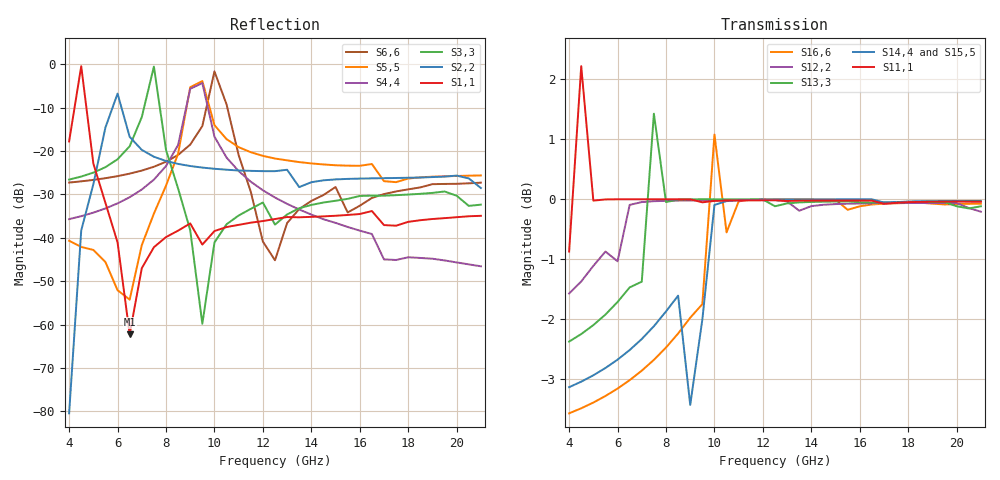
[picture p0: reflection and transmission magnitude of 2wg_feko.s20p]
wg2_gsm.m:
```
F = 4e9:0.5e9:21e9;

rp = 0.0405319403216/2; % radius of the waveguide
rr = 0.0405319403216/2.1;

c0 = 3e8;

err = 1;
murr = 1;
erp = 1;
murp = 1;


er0 = 8.85418782e-12; % Free space permittivity
mu0 = 1.25663706e-6;  % Free Space Permeability
epsilonr = err * er0;   % Permittivity in the medium
mur = mu0 * murr;
epsilonp = erp * er0;   % Permittivity in the medium
mup = mu0 * murp;


Nr = 1:1:15;
Np = 1:1:15;

X_til = Inner_p(Nr, Np, rp, rr, erp, murp, err, murr);


parfor k = 1:length(F)


[Spp_, Spr_, Srp_, Srr_] = GSM(Nr, Np, F(k), rp, rr, erp, murp, err, murr, X_til);

Spp(k, :, :) = Spp_;
Spr(k, :, :) = Spr_;
Srp(k, :, :) = Srp_;
Srr(k, :, :) = Srr_;


end


F_cst = linspace(4e9, 21e9, 1001);
data5_cst = read(rfdata.data,'2wg_cst.s38p');
s_params_5_cst = extract(data5_cst,'S_PARAMETERS');


data5_feko = read(rfdata.data,'2wg_feko.s20p');
s_params_5_feko = extract(data5_feko,'S_PARAMETERS');

figure;

plot(F * 1e-9, db(abs(squeeze(Spp(:, 4, 4))))/2, 'LineWidth', 2); grid on;
hold on;
plot(F_cst * 1e-9, db(abs(squeeze(s_params_5_cst(25,25, :))))/2, 'LineWidth', 2); grid on;
hold on;
plot(F * 1e-9, db(abs(squeeze(s_params_5_feko(4, 4, :))))/2, 'LineWidth', 2); grid on;


xlim([5 21])
```
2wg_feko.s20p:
! S-parameter export from POSTFEKO
! Filename: circular_2wg_10modes
! Creation date: 2020-02-24 14:28:58
# Hz S MA R  5.0000000E+01
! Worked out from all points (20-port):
!   35 points, 4 GHz to 21 GHz, reference 50 ohm
!   strongest paths, dB at 4 GHz, 8 GHz, 12.5 GHz, 17 GHz, 21 GHz:
!     S11,1: -0.9, 0.0, 0.0, -0.1, 0.0
!     S14,4: -3.1, -1.9, 0.0, -0.1, 0.0
!     S13,3: -2.4, 0.0, -0.1, 0.0, -0.1
!     S12,2: -1.6, 0.0, 0.0, -0.1, -0.2
!     S16,6: -3.6, -2.5, 0.0, -0.1, -0.1
!     S15,5: -3.1, -1.7, 0.0, -0.2, -0.1
!   lowest |S11| = -62.2 dB at 6.5 GHz (marker M1), VSWR 1.00, Z = 50 + j0.0692 ohm
!   |S11| at or under -10 dB: start of sweep to 4.224 GHz; 4.713 GHz to end of sweep
